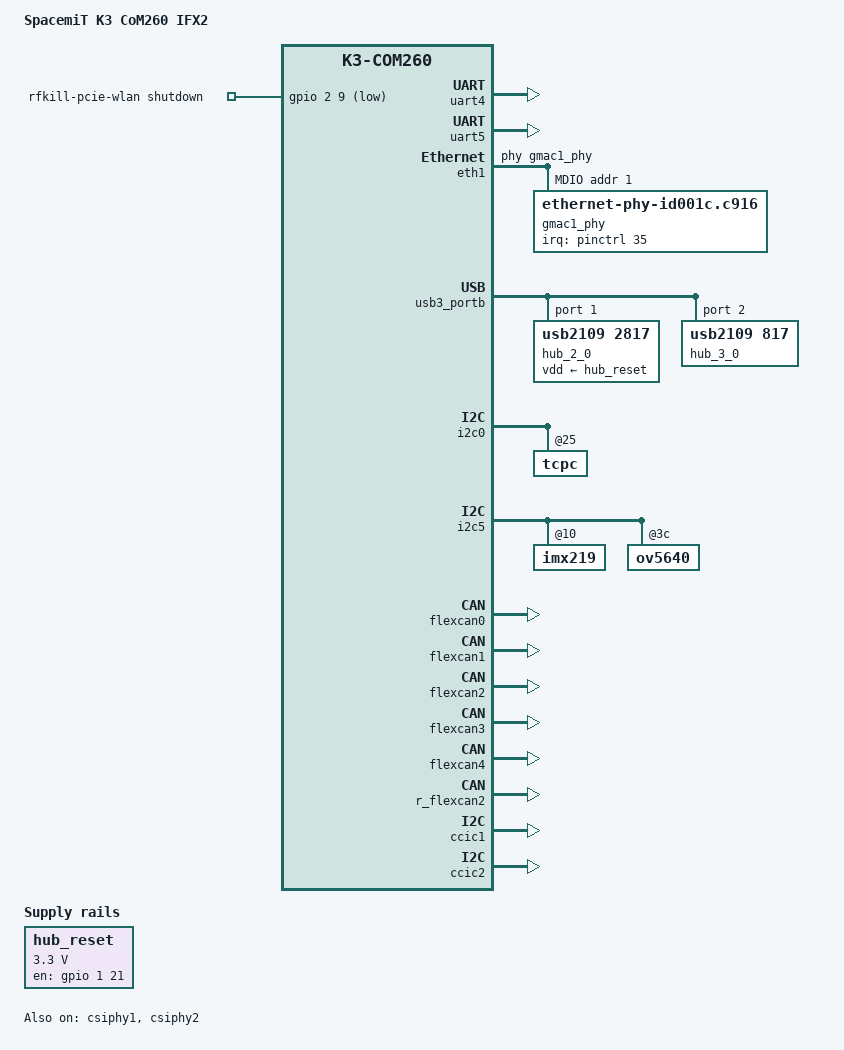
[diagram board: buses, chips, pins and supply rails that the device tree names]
// SPDX-License-Identifier: (GPL-2.0 OR MIT)
/* Copyright (c) 2025 Spacemit, Inc */

#include "k3_com260.dtsi"
#include "k3-camera.dtsi"

/ {
	model = "SpacemiT K3 CoM260 IFX2";
	compatible = "spacemit,k3-com260-ifx2", "spacemit,k3-com260", "spacemit,k3";

	rfkill-pcie-wlan {
		compatible = "rfkill-gpio";
		label = "rfkill-pcie-wlan";
		pinctrl-names = "default";
		pinctrl-0 = <&m2_wdis1_cfg>;
		radio-type = "wlan";
		shutdown-gpios = <&gpio 2 9 GPIO_ACTIVE_LOW>;
	};

	hub_reset: hub-reset {
		compatible = "regulator-fixed";
		regulator-name = "hub-reset";
		regulator-min-microvolt = <3300000>;
		regulator-max-microvolt = <3300000>;
		enable-active-high;
		regulator-boot-on;
		gpio = <&gpio 1 21 0>;
	};
};

&pinctrl {
	uart4-0-cfg {
		uart4-0-pins {
			power-source = <3300>;
		};
	};

	uart5-2-cfg {
		uart5-0-pins {
			power-source = <3300>;
		};
	};

	can3-1-cfg {
		can3-0-pins {
			power-source = <1800>;
		};
	};

	can4-1-cfg {
		can4-0-pins {
			power-source = <1800>;
		};
	};

	rcan2-0-cfg {
		rcan2-0-pins {
			power-source = <1800>;
		};
	};
};

&uart4 {
	pinctrl-names = "default";
	pinctrl-0 = <&uart4_0_cfg>;
	status = "okay";
};

&uart5 {
	pinctrl-names = "default";
	pinctrl-0 = <&uart5_2_cfg>;
	status = "okay";
};

&eth1 {
	phy-handle = <&gmac1_phy>;

	mdio {
		#address-cells = <1>;
		#size-cells = <0>;
		compatible = "snps,dwmac-mdio";

		gmac1_phy: ethernet-phy@1 {
			compatible = "ethernet-phy-id001c.c916",
				     "ethernet-phy-ieee802.3-c22";
			reg = <1>;
			realtek,aldps-enable;
			realtek,clkout-disable;
			realtek,link-poll;

			wakeup-source;
			interrupt-parent = <&pinctrl>;
			interrupts = <35 IRQ_TYPE_EDGE_FALLING>;

			leds {
				#address-cells = <1>;
				#size-cells = <0>;

				led@1 {
					reg = <1>;
					function = LED_FUNCTION_LAN;
					color = <LED_COLOR_ID_GREEN>;
					default-state = "keep";
				};

				led@2 {
					reg = <2>;
					function = LED_FUNCTION_LAN;
					color = <LED_COLOR_ID_YELLOW>;
					default-state = "keep";
				};
			};
		};
	};
};

&usb3_porta_u3phy {
	lfps-iset-lvl = <3>;
};

&usb3_porta {
	reset-on-resume;
};

&usb3_portb {
	reset-on-resume;
	/* wakeup-source; */

	/* VL817 USB2.0 hub (4 ports) */
	hub_2_0: hub@1 {
		compatible = "usb2109,2817";
		reg = <1>;
		peer-hub = <&hub_3_0>;
		vdd-supply = <&hub_reset>;
	};

	/* VL817 USB3.0 hub (4 ports) */
	hub_3_0: hub@2 {
		compatible = "usb2109,817";
		reg = <2>;
		peer-hub = <&hub_2_0>;
	};
};

&i2c0 {
	tcpc@25 {
		suspend-vbus-off;
	};
};

/* ifx2: cam1 uses csi-1 */
&i2c5 {
	imx219@10 {
		csi-id = <1>;
	};

	ov5640@3c {
		csi-id = <1>;
	};
};

&imx219_out {
	remote-endpoint = <&ccic1_in>;
};

&ov5640_gmsl_out {
	remote-endpoint = <&ccic1_in_alt>;
};

&ov5647_out {
	remote-endpoint = <&ccic2_in>;
};

&ccic1_in {
	remote-endpoint = <&imx219_out>;
	spacemit,dt-filter = <0x2b>;
};

&ccic1_in_alt {
	remote-endpoint = <&ov5640_gmsl_out>;
};

&ccic2_in {
	remote-endpoint = <&ov5647_out>;
};

&flexcan0 {
	clock-frequency = <80000000>;
	pinctrl-names = "default";
	pinctrl-0 = <&can0_1_cfg>;
	status = "okay";
};

&flexcan1 {
	clock-frequency = <80000000>;
	pinctrl-names = "default";
	pinctrl-0 = <&can1_0_cfg>;
	status = "okay";
};

&flexcan2 {
	clock-frequency = <80000000>;
	pinctrl-names = "default";
	pinctrl-0 = <&can2_0_cfg>;
	status = "okay";
};

&flexcan3 {
	clock-frequency = <80000000>;
	pinctrl-names = "default";
	pinctrl-0 = <&can3_1_cfg>;
	status = "okay";
};

&flexcan4 {
	clock-frequency = <80000000>;
	pinctrl-names = "default";
	pinctrl-0 = <&can4_1_cfg>;
	status = "okay";
};

&r_flexcan2 {
	clock-frequency = <80000000>;
	pinctrl-names = "default";
	pinctrl-0 = <&rcan2_0_cfg>;
	status = "okay";
};

&ccic0 {
	status = "disabled";
};

&ccic1 {
	status = "okay";
};

&ccic2 {
	status = "okay";
};

&ccic3 {
	status = "disabled";
};

&csiphy0 {
	status = "disabled";
};

&csiphy1 {
	status = "okay";
};

&csiphy2 {
	spacemit,bifmode-enable = <0>;
	status = "okay";
};

&rpmi_regulator {
	edcdc2: edcdc2 {
		regulator-max-microvolt = <1100000>;
	};

	edcdc1: edcdc1 {
		regulator-max-microvolt = <1100000>;
	};
};
